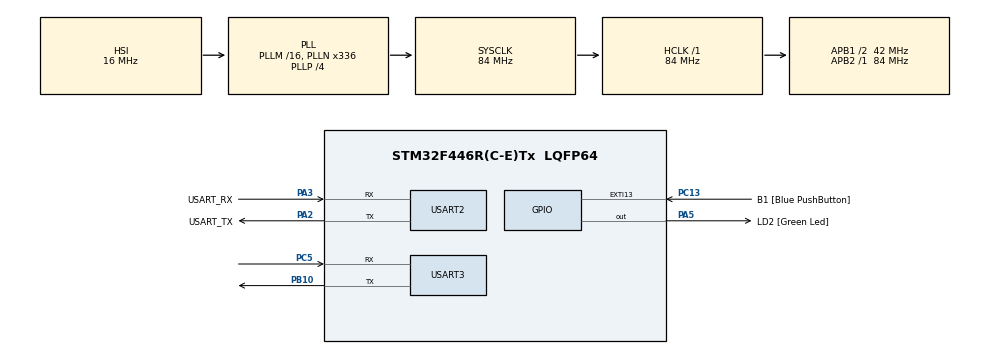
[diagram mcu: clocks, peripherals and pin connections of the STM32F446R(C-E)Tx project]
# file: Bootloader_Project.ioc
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Mcu.Family=STM32F4
Mcu.Name=STM32F446R(C-E)Tx
Mcu.Package=LQFP64
NVIC.EXTI15_10_IRQn=true\:0\:0\:false\:false\:true\:true\:true\:true
NVIC.PriorityGroup=NVIC_PRIORITYGROUP_0
PA13.GPIO_Label=TMS
PA13.Mode=Serial_Wire
PA13.Signal=SYS_JTMS-SWDIO
PA14.GPIO_Label=TCK
PA14.Mode=Serial_Wire
PA14.Signal=SYS_JTCK-SWCLK
PA2.GPIO_Label=USART_TX
PA2.Mode=Asynchronous
PA2.Signal=USART2_TX
PA3.GPIO_Label=USART_RX
PA3.Mode=Asynchronous
PA3.Signal=USART2_RX
PA5.GPIO_Label=LD2 [Green Led]
PA5.Signal=GPIO_Output
PB10.Mode=Asynchronous
PB10.Signal=USART3_TX
PB3.GPIO_Label=SWO
PB3.Signal=SYS_JTDO-SWO
PC13.GPIO_Label=B1 [Blue PushButton]
PC13.GPIO_ModeDefaultEXTI=GPIO_MODE_IT_FALLING
PC13.Signal=GPXTI13
PC14-OSC32_IN.Mode=LSE-External-Oscillator
PC14-OSC32_IN.Signal=RCC_OSC32_IN
PC15-OSC32_OUT.Mode=LSE-External-Oscillator
PC15-OSC32_OUT.Signal=RCC_OSC32_OUT
PC5.Mode=Asynchronous
PC5.Signal=USART3_RX
PH0-OSC_IN.Mode=HSE-External-Oscillator
PH0-OSC_IN.Signal=RCC_OSC_IN
PH1-OSC_OUT.Mode=HSE-External-Oscillator
PH1-OSC_OUT.Signal=RCC_OSC_OUT
ProjectManager.HeapSize=0x200
ProjectManager.StackSize=0x400
ProjectManager.TargetToolchain=STM32CubeIDE
RCC.48MHZClocksFreq_Value=84000000
RCC.AHBFreq_Value=84000000
RCC.APB1CLKDivider=RCC_HCLK_DIV2
RCC.APB1Freq_Value=42000000
RCC.APB1TimFreq_Value=84000000
RCC.APB2Freq_Value=84000000
RCC.APB2TimFreq_Value=84000000
RCC.CortexFreq_Value=84000000
RCC.FLatency-AdvancedSettings=FLASH_LATENCY_2
RCC.HCLKFreq_Value=84000000
RCC.HSE_VALUE=8000000
RCC.HSI_VALUE=16000000
RCC.PLLN=336
RCC.PLLP=RCC_PLLP_DIV4
RCC.SYSCLKFreq_VALUE=84000000
RCC.SYSCLKSource=RCC_SYSCLKSOURCE_PLLCLK
RCC.USBFreq_Value=168000000
RCC.VCOOutputFreq_Value=336000000
USART2.VirtualMode=VM_ASYNC
USART3.VirtualMode=VM_ASYNC
VP_CRC_VS_CRC.Mode=CRC_Activate
board=NUCLEO-F446RE

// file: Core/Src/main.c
/* USER CODE BEGIN Header */
/**
 ******************************************************************************
 * @file           : main.c
 * @brief          : Main program body
 ******************************************************************************
 * @attention
 *
 * Copyright (c) 2026 STMicroelectronics.
 * All rights reserved.
 *
 * This software is licensed under terms that can be found in the LICENSE file
 * in the root directory of this software component.
 * If no LICENSE file comes with this software, it is provided AS-IS.
 *
 ******************************************************************************
 */
/* USER CODE END Header */
#include "main.h"

/* USER CODE BEGIN Includes */
#include "MxTypedef.h"
#include "MxLogger.h"
#include "MxBlReplyProcessing.h"
#include "MxBlCommands.h"
/* USER CODE END Includes */

CRC_HandleTypeDef hcrc;

UART_HandleTypeDef huart2;
UART_HandleTypeDef huart3;

/* USER CODE BEGIN PV */

UINT8 button_pressed_flag = 0;

/* USER CODE END PV */

void SystemClock_Config(void);
static void MX_GPIO_Init(void);
static void MX_USART2_UART_Init(void);
static void MX_CRC_Init(void);
static void MX_USART3_UART_Init(void);
/* USER CODE BEGIN PFP */
static void bootloader_jump_to_user_app(void);
static void bootloader_execute_command(void);
static void print_the_payload(UINT8 *data, UINT8 length);
static BOOL check_checksum(UINT8 *data, UINT8 Length);

/* USER CODE END PFP */

int main(void)
{

  /* MCU Configuration--------------------------------------------------------*/

  /* Reset of all peripherals, Initializes the Flash interface and the Systick. */
  HAL_Init();

  /* Configure the system clock */
  SystemClock_Config();

  /* Initialize all configured peripherals */
  MX_GPIO_Init();
  MX_USART2_UART_Init();
  MX_CRC_Init();
  MX_USART3_UART_Init();

  /* Infinite loop */
  /* USER CODE BEGIN WHILE */

  LOG_MESSAGE(CUART, "Bootloader is running");
  HAL_Delay(3000); // Delay for 1 second to allow the user to press the button
  while (1)
  {
    /* USER CODE END WHILE */
    if (button_pressed_flag == 1)
    {
      LOG_MESSAGE(CUART, "Button is pressed");
      bootloader_jump_to_user_app();
    }
    else
    {
      LOG_MESSAGE(CUART, "Button is not pressed");
      bootloader_execute_command();
    }
  }
}

void SystemClock_Config(void)
{
  RCC_OscInitTypeDef RCC_OscInitStruct = {0};
  RCC_ClkInitTypeDef RCC_ClkInitStruct = {0};

  /** Configure the main internal regulator output voltage
   */
  __HAL_RCC_PWR_CLK_ENABLE();
  __HAL_PWR_VOLTAGESCALING_CONFIG(PWR_REGULATOR_VOLTAGE_SCALE3);

  /** Initializes the RCC Oscillators according to the specified parameters
   * in the RCC_OscInitTypeDef structure.
   */
  RCC_OscInitStruct.OscillatorType = RCC_OSCILLATORTYPE_HSI;
  RCC_OscInitStruct.HSIState = RCC_HSI_ON;
  RCC_OscInitStruct.HSICalibrationValue = RCC_HSICALIBRATION_DEFAULT;
  RCC_OscInitStruct.PLL.PLLState = RCC_PLL_ON;
  RCC_OscInitStruct.PLL.PLLSource = RCC_PLLSOURCE_HSI;
  RCC_OscInitStruct.PLL.PLLM = 16;
  RCC_OscInitStruct.PLL.PLLN = 336;
  RCC_OscInitStruct.PLL.PLLP = RCC_PLLP_DIV4;
  RCC_OscInitStruct.PLL.PLLQ = 2;
  RCC_OscInitStruct.PLL.PLLR = 2;
  if (HAL_RCC_OscConfig(&RCC_OscInitStruct) != HAL_OK)
  {
    Error_Handler();
  }

  /** Initializes the CPU, AHB and APB buses clocks
   */
  RCC_ClkInitStruct.ClockType = RCC_CLOCKTYPE_HCLK | RCC_CLOCKTYPE_SYSCLK | RCC_CLOCKTYPE_PCLK1 | RCC_CLOCKTYPE_PCLK2;
  RCC_ClkInitStruct.SYSCLKSource = RCC_SYSCLKSOURCE_PLLCLK;
  RCC_ClkInitStruct.AHBCLKDivider = RCC_SYSCLK_DIV1;
  RCC_ClkInitStruct.APB1CLKDivider = RCC_HCLK_DIV2;
  RCC_ClkInitStruct.APB2CLKDivider = RCC_HCLK_DIV1;

  if (HAL_RCC_ClockConfig(&RCC_ClkInitStruct, FLASH_LATENCY_2) != HAL_OK)
  {
    Error_Handler();
  }
}

static void MX_CRC_Init(void)
{

  hcrc.Instance = CRC;
  if (HAL_CRC_Init(&hcrc) != HAL_OK)
  {
    Error_Handler();
  }
}

static void MX_USART2_UART_Init(void)
{

  huart2.Instance = USART2;
  huart2.Init.BaudRate = 115200;
  huart2.Init.WordLength = UART_WORDLENGTH_8B;
  huart2.Init.StopBits = UART_STOPBITS_1;
  huart2.Init.Parity = UART_PARITY_NONE;
  huart2.Init.Mode = UART_MODE_TX_RX;
  huart2.Init.HwFlowCtl = UART_HWCONTROL_NONE;
  huart2.Init.OverSampling = UART_OVERSAMPLING_16;
  if (HAL_UART_Init(&huart2) != HAL_OK)
  {
    Error_Handler();
  }
}

static void MX_USART3_UART_Init(void)
{

  huart3.Instance = USART3;
  huart3.Init.BaudRate = 115200;
  huart3.Init.WordLength = UART_WORDLENGTH_8B;
  huart3.Init.StopBits = UART_STOPBITS_1;
  huart3.Init.Parity = UART_PARITY_NONE;
  huart3.Init.Mode = UART_MODE_TX_RX;
  huart3.Init.HwFlowCtl = UART_HWCONTROL_NONE;
  huart3.Init.OverSampling = UART_OVERSAMPLING_16;
  if (HAL_UART_Init(&huart3) != HAL_OK)
  {
    Error_Handler();
  }
}

static void MX_GPIO_Init(void)
{
  GPIO_InitTypeDef GPIO_InitStruct = {0};

  /* GPIO Ports Clock Enable */
  __HAL_RCC_GPIOC_CLK_ENABLE();
  __HAL_RCC_GPIOH_CLK_ENABLE();
  __HAL_RCC_GPIOA_CLK_ENABLE();
  __HAL_RCC_GPIOB_CLK_ENABLE();

  /*Configure GPIO pin Output Level */
  HAL_GPIO_WritePin(LD2_GPIO_Port, LD2_Pin, GPIO_PIN_RESET);

  /*Configure GPIO pin : B1_Pin */
  GPIO_InitStruct.Pin = B1_Pin;
  GPIO_InitStruct.Mode = GPIO_MODE_IT_FALLING;
  GPIO_InitStruct.Pull = GPIO_NOPULL;
  HAL_GPIO_Init(B1_GPIO_Port, &GPIO_InitStruct);

  /*Configure GPIO pin : LD2_Pin */
  GPIO_InitStruct.Pin = LD2_Pin;
  GPIO_InitStruct.Mode = GPIO_MODE_OUTPUT_PP;
  GPIO_InitStruct.Pull = GPIO_NOPULL;
  GPIO_InitStruct.Speed = GPIO_SPEED_FREQ_LOW;
  HAL_GPIO_Init(LD2_GPIO_Port, &GPIO_InitStruct);

  /* EXTI interrupt init*/
  HAL_NVIC_SetPriority(EXTI15_10_IRQn, 0, 0);
  HAL_NVIC_EnableIRQ(EXTI15_10_IRQn);

}

/* USER CODE BEGIN 4 */
static void bootloader_jump_to_user_app(void)
{

  UINT32 msp_value = *(UINT32 *)(USER_APP_SECTOR);
  LOG_MESSAGE(CUART, "Set the msp value : %x", msp_value);

  UINT32 **reset_handler_address = (UINT32 **)(USER_APP_SECTOR + 4);
  void (*reset_handler)(void) = (void (*)(void))*reset_handler_address;
////  LOG_MESSAGE(CUART, "Set the reset handler address : %x", reset_handler_address);// -> This generate
 // Hardfault because stack is initialize ab

  __set_MSP(msp_value);
  reset_handler();
}

static void bootloader_execute_command(void)
{
  LOG_MESSAGE(CUART, "Bootloader is executing command");

  UINT8 *received_data = Blcommandread();
  UINT32 length_of_command = received_data[0] + 1;
  print_the_payload(received_data, length_of_command);
  LOG_MESSAGE(CUART, "Length of command : %d", length_of_command);
  if (check_checksum(received_data, length_of_command))
  {
    LOG_MESSAGE(CUART, "Checksum failed");
    send_the_data(NACK); // Send NACK
    send_the_data(CHECKSUM_FAILED);
  }
  else
  {
    LOG_MESSAGE(CUART, "Checksum passed");
    BLReplyProcessing(received_data,length_of_command);
  }
}

static void print_the_payload(UINT8 *data, UINT8 length)
{
  LOG_MESSAGE(CUART, "The payload is : ");
  for (UINT8 i = 0; i < length; i++)
  {
    LOG_MESSAGE(CUART, "Command Response[%d] : 0x%x ", i, data[i]);
  }
}

static BOOL check_checksum(UINT8 *data, UINT8 Length)
{
  /* Remove the CRC Length */
  int length_of_command = Length - 4;
  UINT32 word_to_byte[length_of_command];

  /*Give every byte a word value*/
  for (UINT8 i = 0; i < length_of_command; i++)
  {
    word_to_byte[i] = data[i];
  }

  /*Calculate the CRC value*/
  UINT32 calculated_crc = HAL_CRC_Calculate(&hcrc, word_to_byte, length_of_command);
  LOG_MESSAGE(CUART, "Calculated CRC : 0x%x", calculated_crc);

  /*Get the CRC value from the data*/
  UINT32 received_crc = 0;
  for (UINT8 i = 0; i < 4; i++)
  {
    received_crc |= (data[length_of_command + i] << (i * 8));
  }

  LOG_MESSAGE(CUART, "Received CRC : 0x%x", received_crc);

  if (calculated_crc == received_crc)
    return 0;
  else
    return 1;
}

/*handle Callback*/
void HAL_GPIO_EXTI_Callback(uint16_t GPIO_Pin)
{
  LOG_MESSAGE(CUART, "Inside the GPIOs callback");
  if (GPIO_Pin == GPIO_PIN_13)
  {
    LOG_MESSAGE(CUART, "Button is pressed set the flag");
    button_pressed_flag = 1;
  }
}
/* USER CODE END 4 */

void Error_Handler(void)
{
  __disable_irq();
  while (1)
  {
  }
}
